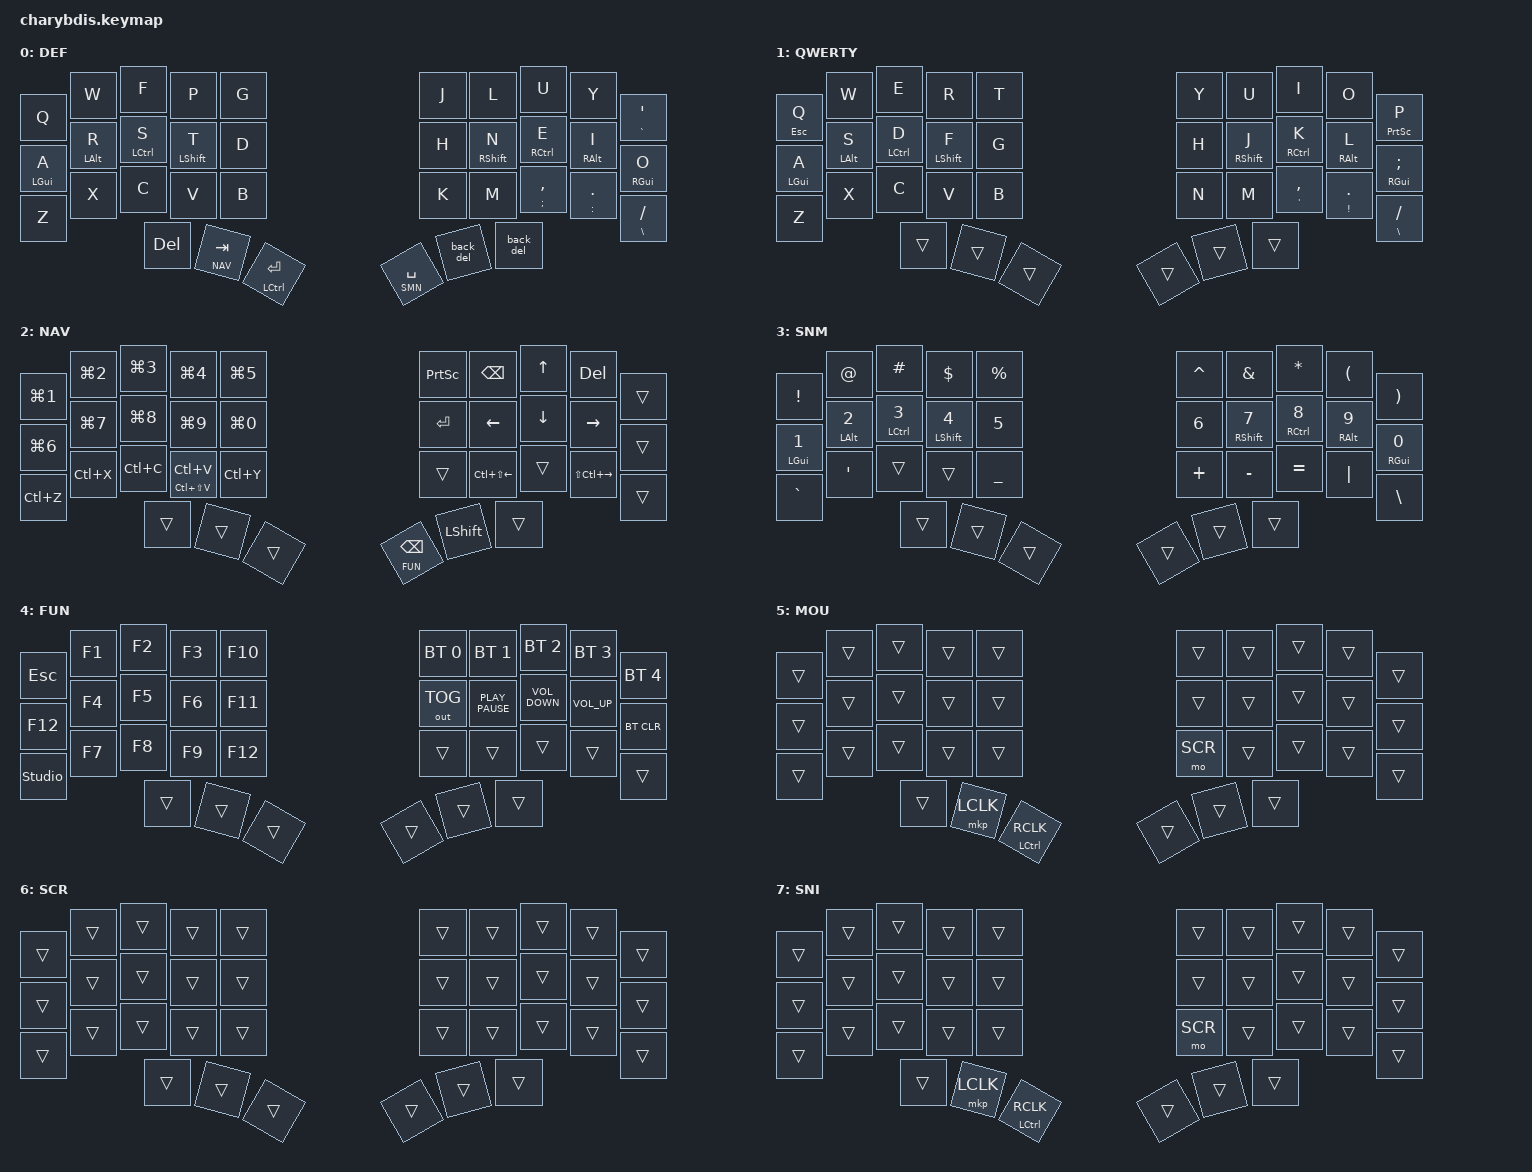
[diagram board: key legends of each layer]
// Includes
#include <behaviors.dtsi>
#include <dt-bindings/zmk/bt.h>
#include <dt-bindings/zmk/keys.h>
#include <dt-bindings/zmk/pointing.h>
#include <dt-bindings/zmk/ext_power.h>
#include <dt-bindings/zmk/mouse.h>
#include <dt-bindings/zmk/outputs.h>
#include <input/processors.dtsi>
#include <dt-bindings/zmk/input_transform.h>

// Layer Definitions
#define DEF 0
#define QWERTY 1
#define NAV 2
#define SMN 3
#define FUN 4
#define MOU 5
#define SCR 6
#define SNI 7


#define HM_TAPPING_TERM 225
#define HM_TAPPING_TERM_FAST 175
#define HM_PRIOR_IDLE 175

// Layer-Tap and Mod-Tap Config Preferences
&lt {
    tapping-term-ms = <240>;
    flavor = "tap-preferred";
    quick-tap-ms = <150>;
    require-prior-idle-ms = <10>;
};

&mt {
    tapping-term-ms = <250>;
    flavor = "tap-preferred";
    require-prior-idle-ms = <250>;
};

/* 
 * Combos, Behaviors, and Keymap
 *╭──────┬──────┬──────┬──────┬──────╮  ╭──────┬──────┬──────┬──────┬──────╮
 *   00     01     02     03     04        05     06     07     08     09 
 *├──────┼──────┼──────┼──────┼──────┤  ├──────┼──────┼──────┼──────┼──────┤
 *   10     11     12     13     14        15     16     17     18     19
 *├──────┼──────┼──────┼──────┼──────┤  ├──────┼──────┼──────┼──────┼──────┤
 *   20     21     22     23     24        25     26     27     28     29 
 *╰──────┴──────┴──────┼──────┼──────┤  ├──────┼──────┼──────┼──────┴──────╯
 *                 30     31     32        33     34     35
 *              ╰──────┴──────┴──────╯  ╰─────┴───────┴──────╯
*/

/ {
 /omit-if-no-ref/ zip_temp_layer: zip_temp_layer {
        compatible = "zmk,input-processor-temp-layer";
        #input-processor-cells = <2>;
        require-prior-idle-ms = <1000>;
    };   

    trackball_listener {
        compatible = "zmk,input-listener";
        device = <&trackball>;
        input-processors = <&zip_xy_scaler 3 2>, <&zip_temp_layer MOU 1500>; // Switch to mouse temp layer
        scroll {
            layers = <SCR>;
            input-processors = <&zip_xy_scaler 1 2>, <&zip_xy_to_scroll_mapper>, <&zip_scroll_transform (INPUT_TRANSFORM_Y_INVERT)>;
        };
        snipe {
            layers = <SNI>;
            input-processors = <&zip_xy_scaler 1 2>;
        };
        //todo: look into mapping mouse to arrow
    };

    msc {
        acceleration-exponent = <0>;      // 0
        time-to-max-speed-ms = <200>;     // 300
        delay-ms = <5>;                   // 10
    };
    
    behaviors {
        Shift_Enter: Shift_Enter {
            compatible = "zmk,behavior-hold-tap";
            display-name = "SHIFT_ENTER";
            bindings = <&kp>, <&kp>;
            #binding-cells = <2>;
            hold-trigger-key-positions = <34>;
            tapping-term-ms = <150>;
        };

        hm_l: homerow_mods_left {
            compatible = "zmk,behavior-hold-tap";
            #binding-cells = <2>;
            bindings = <&kp>,  <&kp>;

            flavor = "balanced";
            tapping-term-ms = <HM_TAPPING_TERM>;
            quick-tap-ms = <175>;                // repeat on tap-into-hold
            require-prior-idle-ms = <HM_PRIOR_IDLE>;

            //hold-trigger-key-positions = <KEYS_R KEYS_T>;
            hold-trigger-on-release;
        };

        hm_r: homerow_mods_right {
            compatible = "zmk,behavior-hold-tap";
            #binding-cells = <2>;
            bindings = <&kp>, <&kp>;

            flavor = "balanced";
            tapping-term-ms = <HM_TAPPING_TERM>;
            quick-tap-ms = <175>;
            require-prior-idle-ms = <HM_PRIOR_IDLE>;

            //hold-trigger-key-positions = <KEYS_L KEYS_T>;
            hold-trigger-on-release;
        };


        // Positional Homerow mods for shift
        // Use faster tapping term and disable some features that may
        // cause false negatives.
        hm_shift_l: hm_shift_l {
            compatible = "zmk,behavior-hold-tap";
            #binding-cells = <2>;
            bindings = <&kp>, <&kp>;

            flavor = "balanced";
            tapping-term-ms = <HM_TAPPING_TERM_FAST>;
            quick-tap-ms = <175>;
            require-prior-idle-ms = <HM_PRIOR_IDLE>;

            //hold-trigger-key-positions = <KEYS_R KEYS_T>;
            // hold-trigger-on-release;
        };

        hm_shift_r: hm_shift_r {
            compatible = "zmk,behavior-hold-tap";
            #binding-cells = <2>;
            bindings = <&kp>, <&kp>;

            flavor = "balanced";
            tapping-term-ms = <HM_TAPPING_TERM_FAST>;
            quick-tap-ms = <175>;
            require-prior-idle-ms = <HM_PRIOR_IDLE>;

            //hold-trigger-key-positions = <KEYS_L KEYS_T>;
            // hold-trigger-on-release;
        };

        /*
         * Non-Positional Homerow Mods
         * Used for &mm_grescm_gui behavior on left hand.
         *
         * Usage: &hm LSHFT T
         * Tap: T
         * Tap-Tap-Hold: Repeat T
         * Hold: LSHIFT
         */
        hm: homerow_mods {
            compatible = "zmk,behavior-hold-tap";
            #binding-cells = <2>;
            bindings = <&kp>, <&kp>;

            flavor = "balanced";
            tapping-term-ms = <HM_TAPPING_TERM>;
            quick-tap-ms = <200>;
        };

         back_del: back_del {
            compatible = "zmk,behavior-mod-morph";
            label = "MM_DEL_WHEN_SHIFTED";
            #binding-cells = <0>;

            // Default tap = Backspace; with Shift held = Delete
            bindings = <&kp BSPC>, <&kp DEL>;

            // Trigger on either left or right shift
            mods = <(MOD_LSFT | MOD_RSFT)>;
        };

        mkp_tap_kp_hold: mkp_tap_kp_hold {
      compatible = "zmk,behavior-hold-tap";
      label = "mkp_tap_kp_hold";
      #binding-cells = <2>;
      tapping-term-ms = <200>;

      // Optional tuning:
      flavor = "hold-preferred";
      hold-while-undecided; // helpful when mixing mods with mouse actions

      // Forward params: first goes to &kp (hold), second to &mkp (tap)
      bindings = <&kp>, <&mkp>;
    };

    space_enter: space_enter {
      compatible = "zmk,behavior-mod-morph";
      label = "space_enter";
      #binding-cells = <0>;

      // Tap result: no-shift => SPACE, with-shift => ENTER
      bindings = <&kp SPACE>, <&kp ENTER>;
      mods = <(MOD_LSFT | MOD_RSFT)>;
    };

    right_space: right_space {
            compatible = "zmk,behavior-hold-tap";
            #binding-cells = <2>;
            flavor = "hold-preferred";
            tapping-term-ms = <200>;
            bindings = <&mo>, <&space_enter>;
        };
    };
    
    combos {
        compatible = "zmk,combos";

        fn_mo {
	    timeout-ms = <50>;
            key-positions = <32 33>;
            bindings = <&mo FUN>;
        };

        LeftClickRight {
            bindings = <&mkp LCLK>;
            key-positions = <26 27>;
        };

        RightClickRight {
            bindings = <&mkp RCLK>;
            key-positions = <27 28>;
        };

        BackClickRight {
            bindings = <&mkp MB4>;
            key-positions = <16 17>;
        };

        ForwardClickRight {
            bindings = <&mkp MB5>;
            key-positions = <17 18>;
        };

        MiddleClickRight {
            bindings = <&tog SCR>;
            key-positions = <26 27 28>;
        };

        SnipelickRight {
            bindings = <&tog SNI>;
            key-positions = <5 6 7>;
        };

        ParaLeft {
            bindings = <&kp LEFT_PARENTHESIS>;
            key-positions = <10 11>;
        };

        ParaRight {
            bindings = <&kp RIGHT_PARENTHESIS>;
            key-positions = <18 19>;
        };

        BrakLeft {
            bindings = <&kp LEFT_BRACKET>;
            key-positions = <0 1>;
        };

        BrakRight {
            bindings = <&kp RIGHT_BRACKET>;
            key-positions = <8 9>;
        };

        BraceLeft {
            bindings = <&kp LEFT_BRACE>;
            key-positions = <20 21>;
        };

        BraceRight {
            bindings = <&kp RIGHT_BRACE>;
            key-positions = <28 29>;
        };

        Delete {
            bindings = <&kp DELETE>;
            key-positions = <7 8>;
        };

        CapsWord {
            bindings = <&caps_word>;
            key-positions = <13 16>;
        };

        QwertyTog {
            bindings = <&tog QWERTY>;
            key-positions = <0 9>;
        };

        EnterCombo {
            bindings = <&kp ENTER>;
            key-positions = <31 32>;
        };

    };

    keymap {
        compatible = "zmk,keymap";

        default_layer {
            display-name = "DEF";
            bindings = <
                &kp Q               &kp W           &kp F               &kp P               &kp G                       &kp J                &kp L              &kp U               &kp Y           &mt GRAVE APOS
                &mt LEFT_GUI A      &mt LEFT_ALT R  &mt LEFT_CONTROL S  &mt LEFT_SHIFT T    &kp D                       &kp H                &mt RIGHT_SHIFT N  &mt RIGHT_CONTROL E &mt RIGHT_ALT I &mt RIGHT_GUI O
                &kp Z               &kp X           &kp C               &kp V               &kp B                       &kp K                &kp M              &mt SEMI COMMA      &mt COLON DOT   &mt BSLH SLASH
                                                    &kp DEL             &lt NAV TAB         &mt LEFT_CONTROL ENTER      &lt SMN SPACE  &back_del          &back_del 
            >;
        }; 

        qwerty_layer {
            display-name = "QWERTY";
            bindings = <
            &hm_l ESC Q               &kp W               &kp E     &kp R                       &kp T                      &kp Y         &kp U                       &kp I                      &kp O                  &hm_r PRINTSCREEN P        
            &hm_l LEFT_GUI A    &hm_l LEFT_ALT S    &hm_l LEFT_CONTROL D    &hm_shift_l LEFT_SHIFT F    &kp G                      &kp H         &hm_shift_r RIGHT_SHIFT J   &hm_r RIGHT_CONTROL K      &hm_r RIGHT_ALT L      &hm_r RIGHT_GUI SEMI       
            &kp Z               &kp X               &kp C                   &kp V                       &kp B                      &kp N         &kp M                       &hm_shift_r APOS COMMA     &hm_shift_r EXCL DOT   &hm_shift_r BACKSLASH FSLH 
                            &trans  &trans  &trans    &trans  &trans &trans
            >;
        };

        nav_layer {
            display-name = "NAV";
            bindings = <
            &kp LG(N1)  &kp LG(N2)  &kp LG(N3)  &kp LG(N4)           &kp LG(N5)   &kp PRINTSCREEN  &kp BACKSPACE     &kp UP         &kp DELETE    &trans
            &kp LG(N6)  &kp LG(N7)  &kp LG(N8)  &kp LG(N9)           &kp LG(N0)   &kp ENTER        &kp LEFT          &kp DOWN       &kp RIGHT  &trans
            &kp LC(Z)   &kp LC(X)   &kp LC(C)   &mt LC(LS(V)) LC(V)  &kp LC(Y)    &trans           &kp LC(LS(LEFT))  &trans         &kp LS(LC(RIGHT))          &trans
                                            &trans         &trans    &trans       &lt FUN BACKSPACE  &kp LSHFT &trans
            >;
        };

        symnum_layer {
            display-name = "SNM";
            bindings = <
            &kp EXCL    &kp AT      &kp HASH    &kp DLLR    &kp PERCENT     &kp CARET   &kp AMPS    &kp STAR    &kp LPAR    &kp RPAR
            &hm_l LEFT_GUI N1    &hm_l LEFT_ALT N2    &hm_l LEFT_CONTROL N3    &hm_shift_l LEFT_SHIFT N4 &kp N5          &kp N6      &hm_shift_r RIGHT_SHIFT N7      &hm_r RIGHT_CONTROL N8      &hm_r RIGHT_ALT N9      &hm_r RIGHT_GUI N0
            &kp GRAVE      &kp APOS      &trans      &trans      &kp UNDER          &kp PLUS    &kp MINUS   &kp EQUAL   &kp PIPE    &kp BSLH
                                    &trans      &trans      &trans          &trans      &trans      &trans
            >;
        };

        function_layer {
            display-name = "FUN";
            bindings = <
            &kp ESC  &kp F1  &kp F2  &kp F3  &kp F10    &bt BT_SEL 0  &bt BT_SEL 1      &bt BT_SEL 2       &bt BT_SEL 3     &bt BT_SEL 4
            &kp F12  &kp F4  &kp F5  &kp F6  &kp F11    &out OUT_TOG  &kp K_PLAY_PAUSE  &kp C_VOLUME_DOWN  &kp C_VOLUME_UP  &bt BT_CLR
            &studio_unlock   &kp F7  &kp F8  &kp F9  &kp F12    &trans        &trans            &trans             &trans           &trans
                                &trans &trans &trans    &trans        &trans &trans
            >;
        };

        mouse_layer {
            display-name = "MOU";
            bindings = <
            &trans  &trans  &trans  &trans  &trans    &trans  &trans  &trans  &trans  &trans
            &trans  &trans  &trans  &trans  &trans    &trans  &trans  &trans  &trans  &trans
            &trans  &trans  &trans  &trans  &trans    &mo SCR  &trans  &trans &trans  &trans
                            &trans  &mkp LCLK  &mkp_tap_kp_hold LCTRL RCLK    &trans  &trans &trans
            >;
        };

        scroll_layer {
            display-name = "SCR";
            bindings = <
            &trans  &trans  &trans  &trans  &trans    &trans  &trans  &trans  &trans  &trans
            &trans  &trans  &trans  &trans  &trans    &trans  &trans  &trans  &trans  &trans
            &trans  &trans  &trans  &trans  &trans    &trans  &trans  &trans  &trans  &trans
                            &trans  &trans  &trans    &trans  &trans &trans
            >;
        };
        
        snipe_layer {
            display-name = "SNI";
            bindings = <
            &trans  &trans  &trans  &trans  &trans    &trans  &trans  &trans  &trans  &trans
            &trans  &trans  &trans  &trans  &trans    &trans  &trans  &trans  &trans  &trans
            &trans  &trans  &trans  &trans  &trans    &mo SCR  &trans  &trans &trans  &trans
                             &trans  &mkp LCLK  &mkp_tap_kp_hold LCTRL RCLK    &trans  &trans &trans
            >;
        };


    };
};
